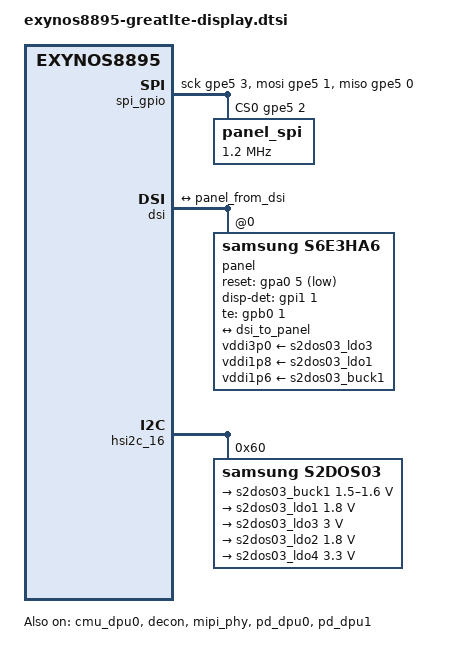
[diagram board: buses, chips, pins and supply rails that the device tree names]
// SPDX-License-Identifier: GPL-2.0 OR BSD-3-Clause
/*
 * Samsung Galaxy Note 8 (SM-N950N) display
 */

#include <dt-bindings/gpio/gpio.h>

/ {
	spi_gpio: spi {
		compatible = "spi-gpio";
		#address-cells = <1>;
		#size-cells = <0>;
		sck-gpios = <&gpe5 3 GPIO_ACTIVE_HIGH>;
		miso-gpios = <&gpe5 0 GPIO_ACTIVE_HIGH>;
		mosi-gpios = <&gpe5 1 GPIO_ACTIVE_HIGH>;
		cs-gpios = <&gpe5 2 GPIO_ACTIVE_HIGH>;
		num-chipselects = <1>;

		panel_spi@0 {
			compatible = "panel_spi";
			reg = <0>;
			spi-max-frequency = <1200000>;
			bits-per-word = <8>;
		};
	};
};

&{/chosen} {
	#address-cells = <2>;
	#size-cells = <1>;
	ranges;

	framebuffer0: framebuffer@cc000000 {
		compatible = "simple-framebuffer";
		reg = <0x0 0xcc000000 (1440 * 2960 * 4)>;
		width = <1440>;
		height = <2960>;
		stride = <(1440 * 4)>;
		format = "a8r8g8b8";
		power-domains = <&pd_dpu0>, <&pd_dpu1>;
		vddi3p0-supply = <&s2dos03_ldo3>;
		vddi1p8-supply = <&s2dos03_ldo1>;
		vddi1p6-supply = <&s2dos03_buck1>;
		status = "disabled";
	};
};

&cmu_dpu0 {
	status = "okay";
};

&decon {
	memory-region = <&splash_mem>;
	pinctrl-names = "default", "sleep";
	pinctrl-0 = <&decon_f_te_on>;
	pinctrl-1 = <&decon_f_te_off>;
	status = "okay";

	cam-stat@16484024 {
		reg = <0x00 0x16484024 0x04>;
	};
};

&dsi {
	samsung,burst-clock-frequency = <898000000>;
	samsung,esc-clock-frequency = <20000000>;
	samsung,cmd-underrun-lp-ref = <0xbce>;
	status = "okay";

	ports {
		port@1 {
			reg = <1>;

			dsi_to_panel: endpoint {
				remote-endpoint = <&panel_from_dsi>;
				data-lanes = <1 2 3 4>;
			};
		};
	};

	panel: panel@0 {
		compatible = "samsung,s6e3ha6";
		reg = <0>;
		reset-gpios = <&gpa0 5 GPIO_ACTIVE_LOW>;
		disp-det-gpios = <&gpi1 1 GPIO_ACTIVE_HIGH>;
		te-gpios = <&gpb0 1 GPIO_ACTIVE_HIGH>;
		vddi3p0-supply = <&s2dos03_ldo3>;
		vddi1p8-supply = <&s2dos03_ldo1>;
		vddi1p6-supply = <&s2dos03_buck1>;
		width-mm = <71>;
		height-mm = <145>;
		dsu_en = <1>;
		dsu_number = <2>;
		dsu_width = <1440 1080 720>;
		dsu_height = <2960 2220 1480>;
		dsu_dsc_width = <720 540 360>;
		dsu_dsc_height = <40 30 74>;
		dsu_dsc_en = <1 1 0>;

		port {
			panel_from_dsi: endpoint {
				remote-endpoint = <&dsi_to_panel>;
			};
		};
	};
};

&hsi2c_16 {
	#address-cells = <1>;
	#size-cells = <0>;
	status = "okay";

	s2dos03: pmic@60 {
		compatible = "samsung,s2dos03";
		reg = <0x60>;

		regulators {
			s2dos03_buck1: buck1 {
				regulator-name = "vdd_ddi_1p6";
				regulator-min-microvolt = <1500000>;
				regulator-max-microvolt = <1600000>;
				regulator-boot-on;
			};

			s2dos03_ldo1: ldo1 {
				regulator-name = "vdd_ddi_1p8";
				regulator-min-microvolt = <1800000>;
				regulator-max-microvolt = <1800000>;
				regulator-boot-on;
			};

			s2dos03_ldo3: ldo3 {
				regulator-name = "vdd_ddi_3p0";
				regulator-min-microvolt = <3000000>;
				regulator-max-microvolt = <3000000>;
				regulator-boot-on;
			};

			s2dos03_ldo2: ldo2 {
				regulator-name = "HRM_1.8V_AP";
				regulator-min-microvolt = <1800000>;
				regulator-max-microvolt = <1800000>;
			};

			s2dos03_ldo4: ldo4 {
				regulator-name = "HRM_3.3V_AP";
				regulator-min-microvolt = <3300000>;
				regulator-max-microvolt = <3300000>;
			};
		};
	};
};

&mipi_phy {
	status = "okay";
};

&pd_dpu0 {
	status = "okay";
};

&pd_dpu1 {
	status = "okay";
};

&pinctrl_peric1 {
	decon_f_te_on: decon-f-te-on-pins {
		samsung,pins = "gpb0-1";
		samsung,pin-function = <EXYNOS_PIN_FUNC_EINT>;
	};

	decon_f_te_off: decon-f-te-off-pins {
		samsung,pins = "gpb0-1";
		samsung,pin-function = <EXYNOS_PIN_FUNC_INPUT>;
	};
};

&sysmmu_dpu0 {
	status = "okay";
};

&sysmmu_dpu1 {
	status = "okay";
};

&sysmmu_dpu2 {
	status = "okay";
};
